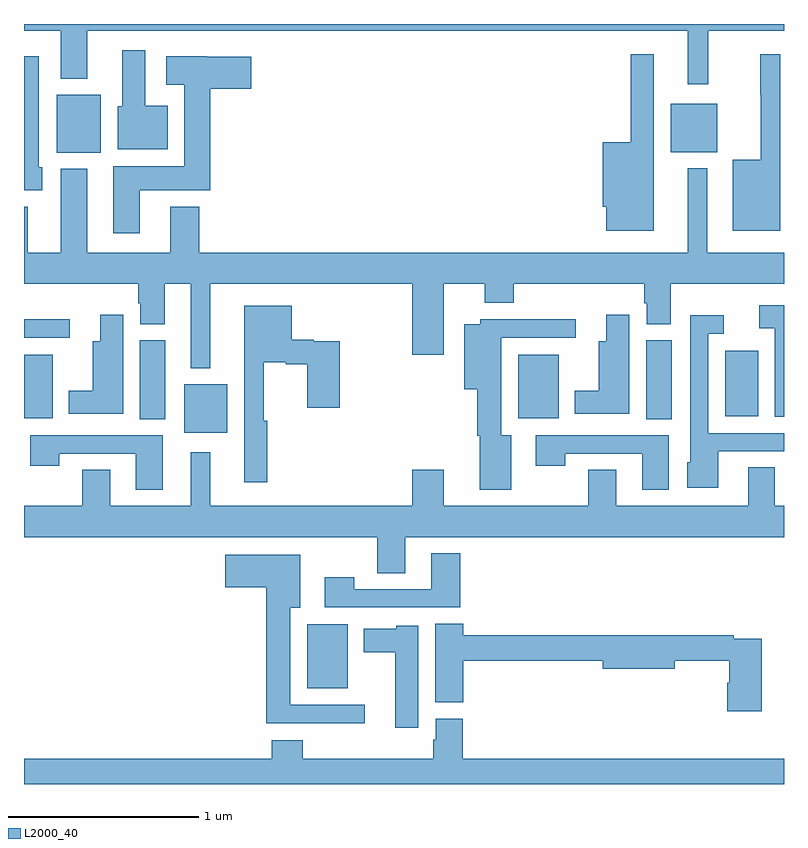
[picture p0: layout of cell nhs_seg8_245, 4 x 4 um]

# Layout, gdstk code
import gdstk
lib = gdstk.Library(unit=1e-6, precision=1e-09)
def R(c, l, rs):  # rectangles x0, y0, x1, y1
    for r in rs: c.add(gdstk.rectangle(r[:2], r[2:], *l))
def P(c, l, *ps):  # polygons
    for p in ps: c.add(gdstk.Polygon(p, *l))
L2000_40 = (2000, 40)

nhs_seg8_245 = lib.new_cell('nhs_seg8_245')
R(nhs_seg8_245, L2000_40, [(128.492,1082.405,128.704,1082.74), (127.844,1083.749,128.071,1084.003), (127.61,1083.82,127.744,1084.236), (130.274,1083.82,130.408,1084.236), (127,1083.824,127.15,1084.159), (129.602,1083.824,129.814,1084.159), (130.691,1083.836,130.864,1084.18), (127,1084.248,127.24,1084.346), (127.172,1085.222,127.405,1085.527), (130.403,1085.225,130.648,1085.479)])
P(nhs_seg8_245, L2000_40, [(130.6,1085.864),(131,1085.864),(131,1085.9),(127,1085.9),(127,1085.864),(127.193,1085.864),(127.193,1085.612),(127.333,1085.612),(127.333,1085.864),(130.493,1085.864),(130.493,1085.583),(130.6,1085.583)],
  [(127.756,1085.47),(127.639,1085.47),(127.639,1085.761),(127.517,1085.761),(127.517,1085.466),(127.493,1085.466),(127.493,1085.24),(127.756,1085.24)],
  [(130.315,1085.74),(130.194,1085.74),(130.194,1085.278),(130.046,1085.278),(130.046,1084.938),(130.064,1084.938),(130.064,1084.811),(130.315,1084.811)],
  [(130.981,1085.74),(130.875,1085.74),(130.875,1085.527),(130.877,1085.527),(130.877,1085.185),(130.73,1085.185),(130.73,1084.811),(130.981,1084.811)],
  [(127.096,1085.145),(127.078,1085.145),(127.078,1085.731),(127,1085.731),(127,1085.024),(127.096,1085.024)],
  [(127.609,1085.024),(127.979,1085.024),(127.979,1085.558),(128.197,1085.558),(128.197,1085.728),(127.962,1085.728),(127.962,1085.731),(127.749,1085.731),(127.749,1085.579),(127.844,1085.579),(127.844,1085.152),(127.469,1085.152),(127.469,1084.8),(127.609,1084.8)],
  [(131,1084.696),(130.597,1084.696),(130.597,1085.14),(130.493,1085.14),(130.493,1084.696),(127.922,1084.696),(127.922,1084.939),(127.769,1084.939),(127.769,1084.696),(127.333,1084.696),(127.333,1085.137),(127.193,1085.137),(127.193,1084.696),(127.021,1084.696),(127.021,1084.939),(127,1084.939),(127,1084.532),(127.601,1084.532),(127.601,1084.431),(127.613,1084.431),(127.613,1084.321),(127.741,1084.321),(127.741,1084.532),(127.877,1084.532),(127.877,1084.088),(127.981,1084.088),(127.981,1084.532),(129.044,1084.532),(129.044,1084.158),(129.208,1084.158),(129.208,1084.532),(129.425,1084.532),(129.425,1084.433),(129.578,1084.433),(129.578,1084.532),(130.265,1084.532),(130.265,1084.431),(130.277,1084.431),(130.277,1084.321),(130.405,1084.321),(130.405,1084.532),(131,1084.532)],
  [(131,1084.42),(130.869,1084.42),(130.869,1084.298),(130.952,1084.298),(130.952,1083.832),(131,1083.832)],
  [(128.281,1083.813),(128.263,1083.813),(128.263,1084.121),(128.378,1084.121),(128.378,1084.109),(128.492,1084.109),(128.492,1083.879),(128.663,1083.879),(128.663,1084.231),(128.526,1084.231),(128.526,1084.239),(128.41,1084.239),(128.41,1084.417),(128.159,1084.417),(128.159,1083.489),(128.281,1083.489)],
  [(127.522,1084.369),(127.4,1084.369),(127.4,1084.231),(127.361,1084.231),(127.361,1083.97),(127.235,1083.97),(127.235,1083.848),(127.522,1083.848)],
  [(130.186,1084.369),(130.064,1084.369),(130.064,1084.231),(130.025,1084.231),(130.025,1083.97),(129.899,1083.97),(129.899,1083.848),(130.186,1083.848)],
  [(130.654,1083.651),(131,1083.651),(131,1083.747),(130.602,1083.747),(130.602,1084.269),(130.684,1084.269),(130.684,1084.366),(130.506,1084.366),(130.506,1083.594),(130.49,1083.594),(130.49,1083.458),(130.654,1083.458)],
  [(129.565,1083.736),(129.511,1083.736),(129.511,1084.248),(129.904,1084.248),(129.904,1084.346),(129.402,1084.346),(129.402,1084.321),(129.317,1084.321),(129.317,1083.977),(129.386,1083.977),(129.386,1083.732),(129.398,1083.732),(129.398,1083.45),(129.565,1083.45)],
  [(127.729,1083.735),(127.034,1083.735),(127.034,1083.576),(127.185,1083.576),(127.185,1083.639),(127.589,1083.639),(127.589,1083.45),(127.729,1083.45)],
  [(130.393,1083.735),(129.693,1083.735),(129.693,1083.576),(129.849,1083.576),(129.849,1083.639),(130.253,1083.639),(130.253,1083.45),(130.393,1083.45)],
  [(129.007,1083.2),(131,1083.2),(131,1083.364),(130.951,1083.364),(130.951,1083.566),(130.811,1083.566),(130.811,1083.364),(130.117,1083.364),(130.117,1083.554),(129.97,1083.554),(129.97,1083.364),(129.208,1083.364),(129.208,1083.553),(129.044,1083.553),(129.044,1083.364),(127.981,1083.364),(127.981,1083.646),(127.877,1083.646),(127.877,1083.364),(127.453,1083.364),(127.453,1083.554),(127.306,1083.554),(127.306,1083.364),(127,1083.364),(127,1083.2),(128.86,1083.2),(128.86,1083.01),(129.007,1083.01)],
  [(129.296,1083.115),(129.143,1083.115),(129.143,1082.925),(128.739,1082.925),(128.739,1082.989),(128.583,1082.989),(128.583,1082.829),(129.296,1082.829)],
  [(128.794,1082.316),(128.401,1082.316),(128.401,1082.828),(128.455,1082.828),(128.455,1083.106),(128.058,1083.106),(128.058,1082.936),(128.276,1082.936),(128.276,1082.219),(128.794,1082.219)],
  [(130.883,1082.664),(130.736,1082.664),(130.736,1082.684),(129.311,1082.684),(129.311,1082.744),(129.164,1082.744),(129.164,1082.329),(129.311,1082.329),(129.311,1082.548),(130.046,1082.548),(130.046,1082.506),(130.426,1082.506),(130.426,1082.548),(130.712,1082.548),(130.712,1082.433),(130.7,1082.433),(130.7,1082.283),(130.883,1082.283)],
  [(129.076,1082.734),(128.958,1082.734),(128.958,1082.716),(128.789,1082.716),(128.789,1082.594),(128.954,1082.594),(128.954,1082.196),(129.076,1082.196)],
  [(131,1082.032),(129.308,1082.032),(129.308,1082.244),(129.167,1082.244),(129.167,1082.133),(129.155,1082.133),(129.155,1082.032),(128.468,1082.032),(128.468,1082.131),(128.303,1082.131),(128.303,1082.032),(127,1082.032),(127,1081.9),(131,1081.9)])

lib.write_gds('nhs_seg8_245.gds')
